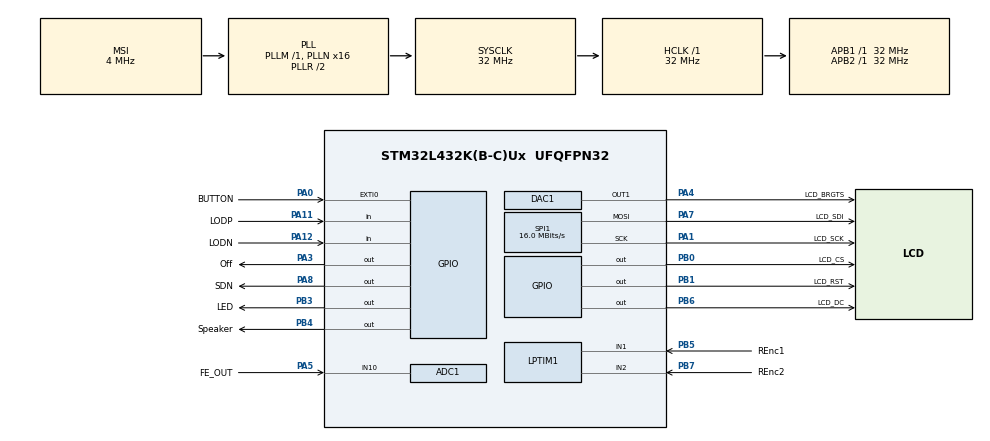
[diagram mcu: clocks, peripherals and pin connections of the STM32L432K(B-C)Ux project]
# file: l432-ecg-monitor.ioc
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ADC1.Channel-2\#ChannelRegularConversion=ADC_CHANNEL_10
ADC1.ClockPrescaler=ADC_CLOCK_ASYNC_DIV128
ADC1.ContinuousConvMode=ENABLE
ADC1.DMAContinuousRequests=ENABLE
ADC1.NbrOfConversionFlag=1
ADC1.OffsetNumber-2\#ChannelRegularConversion=ADC_OFFSET_NONE
ADC1.Rank-2\#ChannelRegularConversion=1
ADC1.SamplingTime-2\#ChannelRegularConversion=ADC_SAMPLETIME_640CYCLES_5
ADC1.master=1
Dma.ADC1.0.Direction=DMA_PERIPH_TO_MEMORY
Dma.ADC1.0.Instance=DMA1_Channel1
Dma.ADC1.0.MemDataAlignment=DMA_MDATAALIGN_HALFWORD
Dma.ADC1.0.MemInc=DMA_MINC_ENABLE
Dma.ADC1.0.Mode=DMA_CIRCULAR
Dma.ADC1.0.PeriphDataAlignment=DMA_PDATAALIGN_HALFWORD
Dma.ADC1.0.PeriphInc=DMA_PINC_DISABLE
Dma.ADC1.0.Priority=DMA_PRIORITY_LOW
Dma.Request0=ADC1
Dma.Request1=SPI1_TX
Dma.SPI1_TX.1.Direction=DMA_MEMORY_TO_PERIPH
Dma.SPI1_TX.1.Instance=DMA1_Channel3
Dma.SPI1_TX.1.MemDataAlignment=DMA_MDATAALIGN_BYTE
Dma.SPI1_TX.1.MemInc=DMA_MINC_ENABLE
Dma.SPI1_TX.1.Mode=DMA_NORMAL
Dma.SPI1_TX.1.PeriphDataAlignment=DMA_PDATAALIGN_BYTE
Dma.SPI1_TX.1.PeriphInc=DMA_PINC_DISABLE
Dma.SPI1_TX.1.Priority=DMA_PRIORITY_LOW
LPTIM1.ULPClockPolarity=LPTIM_CLOCKPOLARITY_RISING_FALLING
LPTIM1.ULPClockSampleTime=LPTIM_CLOCKSAMPLETIME_DIRECTTRANSITION
LPTIM1.UpdateMode=LPTIM_UPDATE_IMMEDIATE
Mcu.Family=STM32L4
Mcu.Name=STM32L432K(B-C)Ux
Mcu.Package=UFQFPN32
NVIC.DMA1_Channel1_IRQn=true\:0\:0\:false\:false\:true\:false\:true\:true
NVIC.DMA1_Channel3_IRQn=true\:0\:0\:false\:false\:true\:false\:true\:true
NVIC.EXTI0_IRQn=true\:0\:0\:false\:false\:true\:true\:true\:true
NVIC.LPTIM1_IRQn=true\:0\:0\:false\:false\:true\:true\:true\:true
NVIC.PriorityGroup=NVIC_PRIORITYGROUP_4
NVIC.TIM1_UP_TIM16_IRQn=true\:0\:0\:false\:false\:true\:true\:true\:true
NVIC.TIM7_IRQn=true\:0\:0\:false\:false\:true\:true\:true\:true
PA0.GPIO_Label=BUTTON
PA0.GPIO_ModeDefaultEXTI=GPIO_MODE_IT_RISING_FALLING
PA0.Signal=GPXTI0
PA1.GPIO_Label=LCD_SCK
PA1.GPIO_PuPd=GPIO_PULLDOWN
PA1.Mode=TX_Only_Simplex_Unidirect_Master
PA1.Signal=SPI1_SCK
PA11.GPIO_Label=LODP
PA11.Signal=GPIO_Input
PA12.GPIO_Label=LODN
PA12.Signal=GPIO_Input
PA13\ (JTMS-SWDIO).GPIO_Label=SWDIO
PA13\ (JTMS-SWDIO).Mode=Serial_Wire
PA13\ (JTMS-SWDIO).Signal=SYS_JTMS-SWDIO
PA14\ (JTCK-SWCLK).GPIO_Label=SWCLK
PA14\ (JTCK-SWCLK).Mode=Serial_Wire
PA14\ (JTCK-SWCLK).Signal=SYS_JTCK-SWCLK
PA15\ (JTDI).GPIO_Label=VCP_RX
PA15\ (JTDI).Signal=USART2_RX
PA2.GPIO_Label=VCP_TX
PA2.Signal=USART2_TX
PA3.GPIO_Label=Off
PA3.GPIO_ModeDefaultOutputPP=GPIO_MODE_OUTPUT_PP
PA3.GPIO_PuPd=GPIO_PULLDOWN
PA3.GPIO_Speed=GPIO_SPEED_FREQ_LOW
PA3.PinState=GPIO_PIN_SET
PA3.Signal=GPIO_Output
PA4.GPIO_Label=LCD_BRGTS
PA4.Signal=COMP_DAC11_group
PA5.GPIO_Label=FE_OUT
PA5.Signal=ADCx_IN10
PA7.GPIO_Label=LCD_SDI
PA7.GPIO_PuPd=GPIO_PULLDOWN
PA7.Mode=TX_Only_Simplex_Unidirect_Master
PA7.Signal=SPI1_MOSI
PA8.GPIO_Label=SDN
PA8.GPIO_PuPd=GPIO_PULLDOWN
PA8.Signal=GPIO_Output
PB0.GPIO_Label=LCD_CS
PB0.GPIO_Speed=GPIO_SPEED_FREQ_VERY_HIGH
PB0.Signal=GPIO_Output
PB1.GPIO_Label=LCD_RST
PB1.Signal=GPIO_Output
PB3\ (JTDO-TRACESWO).GPIO_Label=LED
PB3\ (JTDO-TRACESWO).Signal=GPIO_Output
PB4\ (NJTRST).GPIO_Label=Speaker
PB4\ (NJTRST).Signal=GPIO_Output
PB5.GPIO_Label=REnc1
PB5.GPIO_PuPd=GPIO_NOPULL
PB5.GPIO_Speed=GPIO_SPEED_FREQ_LOW
PB5.Mode=Encoder_mode_occur1
PB5.Signal=LPTIM1_IN1
PB6.GPIO_Label=LCD_DC
PB6.GPIO_Speed=GPIO_SPEED_FREQ_VERY_HIGH
PB6.Signal=GPIO_Output
PB7.GPIO_Label=REnc2
PB7.GPIO_PuPd=GPIO_NOPULL
PB7.Mode=Encoder_mode_occur1
PB7.Signal=LPTIM1_IN2
PC14-OSC32_IN\ (PC14).Mode=LSE-External-Oscillator
PC14-OSC32_IN\ (PC14).Signal=RCC_OSC32_IN
PC15-OSC32_OUT\ (PC15).Mode=LSE-External-Oscillator
PC15-OSC32_OUT\ (PC15).Signal=RCC_OSC32_OUT
ProjectManager.HeapSize=0x800
ProjectManager.StackSize=0x800
ProjectManager.TargetToolchain=STM32CubeIDE
RCC.ADCFreq_Value=32000000
RCC.AHBFreq_Value=32000000
RCC.APB1Freq_Value=32000000
RCC.APB1TimFreq_Value=32000000
RCC.APB2Freq_Value=32000000
RCC.APB2TimFreq_Value=32000000
RCC.CortexFreq_Value=32000000
RCC.HCLKFreq_Value=32000000
RCC.HSE_VALUE=8000000
RCC.HSI16_VALUE=16000000
RCC.HSI48_VALUE=48000000
RCC.HSI_VALUE=16000000
RCC.MSI_VALUE=4000000
RCC.PLLMUL=RCC_PLLMUL_4
RCC.PLLN=16
RCC.PLLSAI1N=16
RCC.SYSCLKFreq_VALUE=32000000
RCC.SYSCLKSource=RCC_SYSCLKSOURCE_PLLCLK
RCC.USBFreq_Value=32000000
RCC.VCOOutputFreq_Value=64000000
SH.ADCx_IN10.0=ADC1_IN10,IN10-Single-Ended
SH.COMP_DAC11_group.0=DAC1_OUT1,DAC_OUT1
SPI1.BaudRatePrescaler=SPI_BAUDRATEPRESCALER_2
SPI1.CLKPolarity=SPI_POLARITY_LOW
SPI1.CalculateBaudRate=16.0 MBits/s
SPI1.DataSize=SPI_DATASIZE_8BIT
SPI1.Direction=SPI_DIRECTION_2LINES
SPI1.Mode=SPI_MODE_MASTER
SPI1.NSSPMode=SPI_NSS_PULSE_DISABLE
SPI1.VirtualType=VM_MASTER
STMicroelectronics.X-CUBE-AI.8.1.0.HeapSize=0x800
STMicroelectronics.X-CUBE-AI.8.1.0.ReadyForCodeGeneration=false
STMicroelectronics.X-CUBE-AI.8.1.0.StackSize=0x800
TIM16.AutoReloadPreload=TIM_AUTORELOAD_PRELOAD_ENABLE
TIM16.Period=5000 - 1
TIM16.Prescaler=32 - 1
TIM7.Period=30000 - 1
TIM7.Prescaler=3200 - 1
VP_CRC_VS_CRC.Mode=CRC_Activate
VP_TIM16_VS_ClockSourceINT.Mode=Enable_Timer
VP_TIM7_VS_ClockSourceINT.Mode=Enable_Timer
board=NUCLEO-L432KC

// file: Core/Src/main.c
/* USER CODE BEGIN Header */
/**
  ******************************************************************************
  * @file           : main.c
  * @brief          : Main program body
  ******************************************************************************
  * @attention
  *
  * Copyright (c) 2024 STMicroelectronics.
  * All rights reserved.
  *
  * This software is licensed under terms that can be found in the LICENSE file
  * in the root directory of this software component.
  * If no LICENSE file comes with this software, it is provided AS-IS.
  *
  ******************************************************************************
  */
/* USER CODE END Header */
#include "main.h"

/* USER CODE BEGIN Includes */

#include <string.h>
#include <stdio.h>
#include "display.h"
#include "ili9341_gfx.h"
#include "stm32l4xx_ll_lptim.h"

/* USER CODE END Includes */

ADC_HandleTypeDef hadc1;
DMA_HandleTypeDef hdma_adc1;

CRC_HandleTypeDef hcrc;

DAC_HandleTypeDef hdac1;

LPTIM_HandleTypeDef hlptim1;

SPI_HandleTypeDef hspi1;
DMA_HandleTypeDef hdma_spi1_tx;

TIM_HandleTypeDef htim7;
TIM_HandleTypeDef htim16;

/* USER CODE BEGIN PV */

uint32_t old_cnt;

uint32_t last_rotation_check;

/* USER CODE END PV */

void SystemClock_Config(void);
static void MX_GPIO_Init(void);
static void MX_DMA_Init(void);
static void MX_ADC1_Init(void);
static void MX_TIM16_Init(void);
static void MX_SPI1_Init(void);
static void MX_CRC_Init(void);
static void MX_LPTIM1_Init(void);
static void MX_DAC1_Init(void);
static void MX_TIM7_Init(void);
/* USER CODE BEGIN PFP */

void handle_rotary_encoder_turn() {
  if (HAL_GetTick() > last_rotation_check + 200) {
    last_rotation_check = HAL_GetTick();
    uint32_t cnt = hlptim1.Instance->CNT;
    if (old_cnt != cnt) {
      display_handle_rotary_change(old_cnt - cnt);
      old_cnt = cnt;
    }
  }
}

/* USER CODE END PFP */

int main(void)
{

  /* MCU Configuration--------------------------------------------------------*/

  /* Reset of all peripherals, Initializes the Flash interface and the Systick. */
  HAL_Init();

  /* Configure the system clock */
  SystemClock_Config();

  /* Initialize all configured peripherals */
  MX_GPIO_Init();
  MX_DMA_Init();
  MX_ADC1_Init();
  MX_TIM16_Init();
  MX_SPI1_Init();
  MX_CRC_Init();
  MX_LPTIM1_Init();
  MX_DAC1_Init();
  MX_TIM7_Init();
  /* USER CODE BEGIN 2 */

  init_display(&hspi1, &htim16, &hadc1, &hdac1);
  HAL_TIM_Base_Start_IT(&htim16);

  /* Start LPTIM Encoder mode */
  if(HAL_OK != HAL_LPTIM_Encoder_Start_IT(&hlptim1, 0x8000))
  {
    Error_Handler();
  }

  old_cnt = hlptim1.Instance->CNT;

  last_rotation_check = HAL_GetTick();

  /* USER CODE END 2 */

  /* Infinite loop */
  /* USER CODE BEGIN WHILE */
  while (1) {
    handle_rotary_encoder_turn();
    display_graph();
    /* USER CODE END WHILE */

  }
}

void SystemClock_Config(void)
{
  RCC_OscInitTypeDef RCC_OscInitStruct = {0};
  RCC_ClkInitTypeDef RCC_ClkInitStruct = {0};

  /** Configure the main internal regulator output voltage
  */
  if (HAL_PWREx_ControlVoltageScaling(PWR_REGULATOR_VOLTAGE_SCALE1) != HAL_OK)
  {
    Error_Handler();
  }

  /** Configure LSE Drive Capability
  */
  HAL_PWR_EnableBkUpAccess();
  __HAL_RCC_LSEDRIVE_CONFIG(RCC_LSEDRIVE_LOW);

  /** Initializes the RCC Oscillators according to the specified parameters
  * in the RCC_OscInitTypeDef structure.
  */
  RCC_OscInitStruct.OscillatorType = RCC_OSCILLATORTYPE_LSE|RCC_OSCILLATORTYPE_MSI;
  RCC_OscInitStruct.LSEState = RCC_LSE_ON;
  RCC_OscInitStruct.MSIState = RCC_MSI_ON;
  RCC_OscInitStruct.MSICalibrationValue = 0;
  RCC_OscInitStruct.MSIClockRange = RCC_MSIRANGE_6;
  RCC_OscInitStruct.PLL.PLLState = RCC_PLL_ON;
  RCC_OscInitStruct.PLL.PLLSource = RCC_PLLSOURCE_MSI;
  RCC_OscInitStruct.PLL.PLLM = 1;
  RCC_OscInitStruct.PLL.PLLN = 16;
  RCC_OscInitStruct.PLL.PLLP = RCC_PLLP_DIV7;
  RCC_OscInitStruct.PLL.PLLQ = RCC_PLLQ_DIV2;
  RCC_OscInitStruct.PLL.PLLR = RCC_PLLR_DIV2;
  if (HAL_RCC_OscConfig(&RCC_OscInitStruct) != HAL_OK)
  {
    Error_Handler();
  }

  /** Initializes the CPU, AHB and APB buses clocks
  */
  RCC_ClkInitStruct.ClockType = RCC_CLOCKTYPE_HCLK|RCC_CLOCKTYPE_SYSCLK
                              |RCC_CLOCKTYPE_PCLK1|RCC_CLOCKTYPE_PCLK2;
  RCC_ClkInitStruct.SYSCLKSource = RCC_SYSCLKSOURCE_PLLCLK;
  RCC_ClkInitStruct.AHBCLKDivider = RCC_SYSCLK_DIV1;
  RCC_ClkInitStruct.APB1CLKDivider = RCC_HCLK_DIV1;
  RCC_ClkInitStruct.APB2CLKDivider = RCC_HCLK_DIV1;

  if (HAL_RCC_ClockConfig(&RCC_ClkInitStruct, FLASH_LATENCY_1) != HAL_OK)
  {
    Error_Handler();
  }

  /** Enable MSI Auto calibration
  */
  HAL_RCCEx_EnableMSIPLLMode();
}

static void MX_ADC1_Init(void)
{

  ADC_ChannelConfTypeDef sConfig = {0};

  /** Common config
  */
  hadc1.Instance = ADC1;
  hadc1.Init.ClockPrescaler = ADC_CLOCK_ASYNC_DIV128;
  hadc1.Init.Resolution = ADC_RESOLUTION_12B;
  hadc1.Init.DataAlign = ADC_DATAALIGN_RIGHT;
  hadc1.Init.ScanConvMode = ADC_SCAN_DISABLE;
  hadc1.Init.EOCSelection = ADC_EOC_SINGLE_CONV;
  hadc1.Init.LowPowerAutoWait = DISABLE;
  hadc1.Init.ContinuousConvMode = ENABLE;
  hadc1.Init.NbrOfConversion = 1;
  hadc1.Init.DiscontinuousConvMode = DISABLE;
  hadc1.Init.ExternalTrigConv = ADC_SOFTWARE_START;
  hadc1.Init.ExternalTrigConvEdge = ADC_EXTERNALTRIGCONVEDGE_NONE;
  hadc1.Init.DMAContinuousRequests = ENABLE;
  hadc1.Init.Overrun = ADC_OVR_DATA_PRESERVED;
  hadc1.Init.OversamplingMode = DISABLE;
  if (HAL_ADC_Init(&hadc1) != HAL_OK)
  {
    Error_Handler();
  }

  /** Configure Regular Channel
  */
  sConfig.Channel = ADC_CHANNEL_10;
  sConfig.Rank = ADC_REGULAR_RANK_1;
  sConfig.SamplingTime = ADC_SAMPLETIME_640CYCLES_5;
  sConfig.SingleDiff = ADC_SINGLE_ENDED;
  sConfig.OffsetNumber = ADC_OFFSET_NONE;
  sConfig.Offset = 0;
  if (HAL_ADC_ConfigChannel(&hadc1, &sConfig) != HAL_OK)
  {
    Error_Handler();
  }

}

static void MX_CRC_Init(void)
{

  hcrc.Instance = CRC;
  hcrc.Init.DefaultPolynomialUse = DEFAULT_POLYNOMIAL_ENABLE;
  hcrc.Init.DefaultInitValueUse = DEFAULT_INIT_VALUE_ENABLE;
  hcrc.Init.InputDataInversionMode = CRC_INPUTDATA_INVERSION_NONE;
  hcrc.Init.OutputDataInversionMode = CRC_OUTPUTDATA_INVERSION_DISABLE;
  hcrc.InputDataFormat = CRC_INPUTDATA_FORMAT_BYTES;
  if (HAL_CRC_Init(&hcrc) != HAL_OK)
  {
    Error_Handler();
  }

}

static void MX_DAC1_Init(void)
{

  DAC_ChannelConfTypeDef sConfig = {0};

  /** DAC Initialization
  */
  hdac1.Instance = DAC1;
  if (HAL_DAC_Init(&hdac1) != HAL_OK)
  {
    Error_Handler();
  }

  /** DAC channel OUT1 config
  */
  sConfig.DAC_SampleAndHold = DAC_SAMPLEANDHOLD_DISABLE;
  sConfig.DAC_Trigger = DAC_TRIGGER_NONE;
  sConfig.DAC_OutputBuffer = DAC_OUTPUTBUFFER_ENABLE;
  sConfig.DAC_ConnectOnChipPeripheral = DAC_CHIPCONNECT_DISABLE;
  sConfig.DAC_UserTrimming = DAC_TRIMMING_FACTORY;
  if (HAL_DAC_ConfigChannel(&hdac1, &sConfig, DAC_CHANNEL_1) != HAL_OK)
  {
    Error_Handler();
  }

}

static void MX_LPTIM1_Init(void)
{

  /* USER CODE BEGIN LPTIM1_Init 0 */
  // LL_LPTIM_Disable(LPTIM1);
  /* USER CODE END LPTIM1_Init 0 */

  hlptim1.Instance = LPTIM1;
  hlptim1.Init.Clock.Source = LPTIM_CLOCKSOURCE_APBCLOCK_LPOSC;
  hlptim1.Init.Clock.Prescaler = LPTIM_PRESCALER_DIV1;
  hlptim1.Init.UltraLowPowerClock.Polarity = LPTIM_CLOCKPOLARITY_RISING_FALLING;
  hlptim1.Init.UltraLowPowerClock.SampleTime = LPTIM_CLOCKSAMPLETIME_DIRECTTRANSITION;
  hlptim1.Init.Trigger.Source = LPTIM_TRIGSOURCE_SOFTWARE;
  hlptim1.Init.OutputPolarity = LPTIM_OUTPUTPOLARITY_HIGH;
  hlptim1.Init.UpdateMode = LPTIM_UPDATE_IMMEDIATE;
  hlptim1.Init.CounterSource = LPTIM_COUNTERSOURCE_EXTERNAL;
  hlptim1.Init.Input1Source = LPTIM_INPUT1SOURCE_GPIO;
  hlptim1.Init.Input2Source = LPTIM_INPUT2SOURCE_GPIO;
  if (HAL_LPTIM_Init(&hlptim1) != HAL_OK)
  {
    Error_Handler();
  }
  /* USER CODE BEGIN LPTIM1_Init 2 */

  // https://community.st.com/t5/stm32-mcus-products/lptim-not-counting-down-in-encoder-mode-always-counts-up-g071/td-p/642341

//  /* Definition of LPTIM1 */
//
//  hlptim1.Instance = LPTIM1;
//  /* reset handle state */
//  __HAL_LPTIM_RESET_HANDLE_STATE(&hlptim1);
//
//  hlptim1.Init.CounterSource                 = LPTIM_COUNTERSOURCE_INTERNAL;
//  hlptim1.Init.UpdateMode                    = LPTIM_UPDATE_IMMEDIATE;
//  hlptim1.Init.OutputPolarity                = LPTIM_OUTPUTPOLARITY_HIGH;
//  hlptim1.Init.Clock.Source                  = LPTIM_CLOCKSOURCE_APBCLOCK_LPOSC;
//  hlptim1.Init.Clock.Prescaler               = LPTIM_PRESCALER_DIV1;
//  hlptim1.Init.UltraLowPowerClock.Polarity   = LPTIM_CLOCKPOLARITY_RISING;
//  hlptim1.Init.UltraLowPowerClock.SampleTime = LPTIM_CLOCKSAMPLETIME_DIRECTTRANSITION;
//  hlptim1.Init.Trigger.Source                = LPTIM_TRIGSOURCE_SOFTWARE;
//  hlptim1.Init.Trigger.ActiveEdge            = LPTIM_ACTIVEEDGE_RISING ;
//  hlptim1.Init.Trigger.SampleTime            = LPTIM_TRIGSAMPLETIME_DIRECTTRANSITION;
//  hlptim1.Init.Input1Source                  = LPTIM_INPUT1SOURCE_GPIO;
//  hlptim1.Init.Input2Source                  = LPTIM_INPUT2SOURCE_GPIO;
//
//  if(HAL_OK != HAL_LPTIM_Init(&hlptim1))
//  {
//  /* Initialization Error */
//    Error_Handler();
//  }

  /*
   * To activate the Encoder mode the ENC bit has to be set to �?1’. The LPTIM must first be
   * configured in Continuous mode.
   * When Encoder mode is active, the LPTIM counter is modified automatically following the
   * speed and the direction of the incremental encoder.
   */
//  LL_LPTIM_StartCounter(LPTIM1, LL_LPTIM_OPERATING_MODE_CONTINUOUS);

  // This function must be called when the LPTIM instance is disabled.
//  LL_LPTIM_SetEncoderMode(LPTIM1, LL_LPTIM_ENCODER_MODE_RISING/*_FALLING*/);

  /*
   * This function must be called when the LPTIM instance is disabled.
   * In this mode the LPTIM instance must be clocked by an internal clock
   * source. Also, the prescaler division ratio must be equal to 1.
   * LPTIM instance must be configured in continuous mode prior enabling
   * the encoder mode.
   */
//  LL_LPTIM_EnableEncoderMode(LPTIM1);
//
//  LL_LPTIM_Enable(LPTIM1);

  /*
   * The counter just counts continuously between 0 and the
   * auto-reload value programmed into the LPTIM_ARR register
   * (0 up to ARR or ARR down to 0 depending on the direction).
   * Therefore LPTIM_ARR must be configured before starting
   */
//  LL_LPTIM_SetAutoReload(LPTIM1, 0xFFFF);

  //LPTIM instance must be enabled before starting the counter.
//  LL_LPTIM_StartCounter(LPTIM1, LL_LPTIM_OPERATING_MODE_CONTINUOUS);

  /* USER CODE END LPTIM1_Init 2 */

}

static void MX_SPI1_Init(void)
{

  /* SPI1 parameter configuration*/
  hspi1.Instance = SPI1;
  hspi1.Init.Mode = SPI_MODE_MASTER;
  hspi1.Init.Direction = SPI_DIRECTION_2LINES;
  hspi1.Init.DataSize = SPI_DATASIZE_8BIT;
  hspi1.Init.CLKPolarity = SPI_POLARITY_LOW;
  hspi1.Init.CLKPhase = SPI_PHASE_1EDGE;
  hspi1.Init.NSS = SPI_NSS_SOFT;
  hspi1.Init.BaudRatePrescaler = SPI_BAUDRATEPRESCALER_2;
  hspi1.Init.FirstBit = SPI_FIRSTBIT_MSB;
  hspi1.Init.TIMode = SPI_TIMODE_DISABLE;
  hspi1.Init.CRCCalculation = SPI_CRCCALCULATION_DISABLE;
  hspi1.Init.CRCPolynomial = 7;
  hspi1.Init.CRCLength = SPI_CRC_LENGTH_DATASIZE;
  hspi1.Init.NSSPMode = SPI_NSS_PULSE_DISABLE;
  if (HAL_SPI_Init(&hspi1) != HAL_OK)
  {
    Error_Handler();
  }

}

static void MX_TIM7_Init(void)
{

  TIM_MasterConfigTypeDef sMasterConfig = {0};

  htim7.Instance = TIM7;
  htim7.Init.Prescaler = 3200 - 1;
  htim7.Init.CounterMode = TIM_COUNTERMODE_UP;
  htim7.Init.Period = 30000 - 1;
  htim7.Init.AutoReloadPreload = TIM_AUTORELOAD_PRELOAD_DISABLE;
  if (HAL_TIM_Base_Init(&htim7) != HAL_OK)
  {
    Error_Handler();
  }
  sMasterConfig.MasterOutputTrigger = TIM_TRGO_RESET;
  sMasterConfig.MasterSlaveMode = TIM_MASTERSLAVEMODE_DISABLE;
  if (HAL_TIMEx_MasterConfigSynchronization(&htim7, &sMasterConfig) != HAL_OK)
  {
    Error_Handler();
  }

}

static void MX_TIM16_Init(void)
{

  htim16.Instance = TIM16;
  htim16.Init.Prescaler = 32 - 1;
  htim16.Init.CounterMode = TIM_COUNTERMODE_UP;
  htim16.Init.Period = 5000 - 1;
  htim16.Init.ClockDivision = TIM_CLOCKDIVISION_DIV1;
  htim16.Init.RepetitionCounter = 0;
  htim16.Init.AutoReloadPreload = TIM_AUTORELOAD_PRELOAD_ENABLE;
  if (HAL_TIM_Base_Init(&htim16) != HAL_OK)
  {
    Error_Handler();
  }

}

static void MX_DMA_Init(void)
{

  /* DMA controller clock enable */
  __HAL_RCC_DMA1_CLK_ENABLE();

  /* DMA interrupt init */
  /* DMA1_Channel1_IRQn interrupt configuration */
  HAL_NVIC_SetPriority(DMA1_Channel1_IRQn, 0, 0);
  HAL_NVIC_EnableIRQ(DMA1_Channel1_IRQn);
  /* DMA1_Channel3_IRQn interrupt configuration */
  HAL_NVIC_SetPriority(DMA1_Channel3_IRQn, 0, 0);
  HAL_NVIC_EnableIRQ(DMA1_Channel3_IRQn);

}

static void MX_GPIO_Init(void)
{
  GPIO_InitTypeDef GPIO_InitStruct = {0};

  /* GPIO Ports Clock Enable */
  __HAL_RCC_GPIOC_CLK_ENABLE();
  __HAL_RCC_GPIOA_CLK_ENABLE();
  __HAL_RCC_GPIOB_CLK_ENABLE();

  /*Configure GPIO pin Output Level */
  HAL_GPIO_WritePin(Off_GPIO_Port, Off_Pin, GPIO_PIN_SET);

  /*Configure GPIO pin Output Level */
  HAL_GPIO_WritePin(GPIOB, LCD_CS_Pin|LCD_RST_Pin|LED_Pin|Speaker_Pin
                          |LCD_DC_Pin, GPIO_PIN_RESET);

  /*Configure GPIO pin Output Level */
  HAL_GPIO_WritePin(SDN_GPIO_Port, SDN_Pin, GPIO_PIN_RESET);

  /*Configure GPIO pin : BUTTON_Pin */
  GPIO_InitStruct.Pin = BUTTON_Pin;
  GPIO_InitStruct.Mode = GPIO_MODE_IT_RISING_FALLING;
  GPIO_InitStruct.Pull = GPIO_NOPULL;
  HAL_GPIO_Init(BUTTON_GPIO_Port, &GPIO_InitStruct);

  /*Configure GPIO pin : VCP_TX_Pin */
  GPIO_InitStruct.Pin = VCP_TX_Pin;
  GPIO_InitStruct.Mode = GPIO_MODE_AF_PP;
  GPIO_InitStruct.Pull = GPIO_NOPULL;
  GPIO_InitStruct.Speed = GPIO_SPEED_FREQ_VERY_HIGH;
  GPIO_InitStruct.Alternate = GPIO_AF7_USART2;
  HAL_GPIO_Init(VCP_TX_GPIO_Port, &GPIO_InitStruct);

  /*Configure GPIO pins : Off_Pin SDN_Pin */
  GPIO_InitStruct.Pin = Off_Pin|SDN_Pin;
  GPIO_InitStruct.Mode = GPIO_MODE_OUTPUT_PP;
  GPIO_InitStruct.Pull = GPIO_PULLDOWN;
  GPIO_InitStruct.Speed = GPIO_SPEED_FREQ_LOW;
  HAL_GPIO_Init(GPIOA, &GPIO_InitStruct);

  /*Configure GPIO pins : LCD_CS_Pin LCD_DC_Pin */
  GPIO_InitStruct.Pin = LCD_CS_Pin|LCD_DC_Pin;
  GPIO_InitStruct.Mode = GPIO_MODE_OUTPUT_PP;
  GPIO_InitStruct.Pull = GPIO_NOPULL;
  GPIO_InitStruct.Speed = GPIO_SPEED_FREQ_VERY_HIGH;
  HAL_GPIO_Init(GPIOB, &GPIO_InitStruct);

  /*Configure GPIO pins : LCD_RST_Pin LED_Pin Speaker_Pin */
  GPIO_InitStruct.Pin = LCD_RST_Pin|LED_Pin|Speaker_Pin;
  GPIO_InitStruct.Mode = GPIO_MODE_OUTPUT_PP;
  GPIO_InitStruct.Pull = GPIO_NOPULL;
  GPIO_InitStruct.Speed = GPIO_SPEED_FREQ_LOW;
  HAL_GPIO_Init(GPIOB, &GPIO_InitStruct);

  /*Configure GPIO pins : LODP_Pin LODN_Pin */
  GPIO_InitStruct.Pin = LODP_Pin|LODN_Pin;
  GPIO_InitStruct.Mode = GPIO_MODE_INPUT;
  GPIO_InitStruct.Pull = GPIO_NOPULL;
  HAL_GPIO_Init(GPIOA, &GPIO_InitStruct);

  /*Configure GPIO pin : VCP_RX_Pin */
  GPIO_InitStruct.Pin = VCP_RX_Pin;
  GPIO_InitStruct.Mode = GPIO_MODE_AF_PP;
  GPIO_InitStruct.Pull = GPIO_NOPULL;
  GPIO_InitStruct.Speed = GPIO_SPEED_FREQ_VERY_HIGH;
  GPIO_InitStruct.Alternate = GPIO_AF3_USART2;
  HAL_GPIO_Init(VCP_RX_GPIO_Port, &GPIO_InitStruct);

  /* EXTI interrupt init*/
  HAL_NVIC_SetPriority(EXTI0_IRQn, 0, 0);
  HAL_NVIC_EnableIRQ(EXTI0_IRQn);

}

/* USER CODE BEGIN 4 */

void handle_button_press() {
  display_handle_button_press();
}

/* USER CODE END 4 */

void Error_Handler(void)
{
  __disable_irq();
  while (1) {
  }
}
